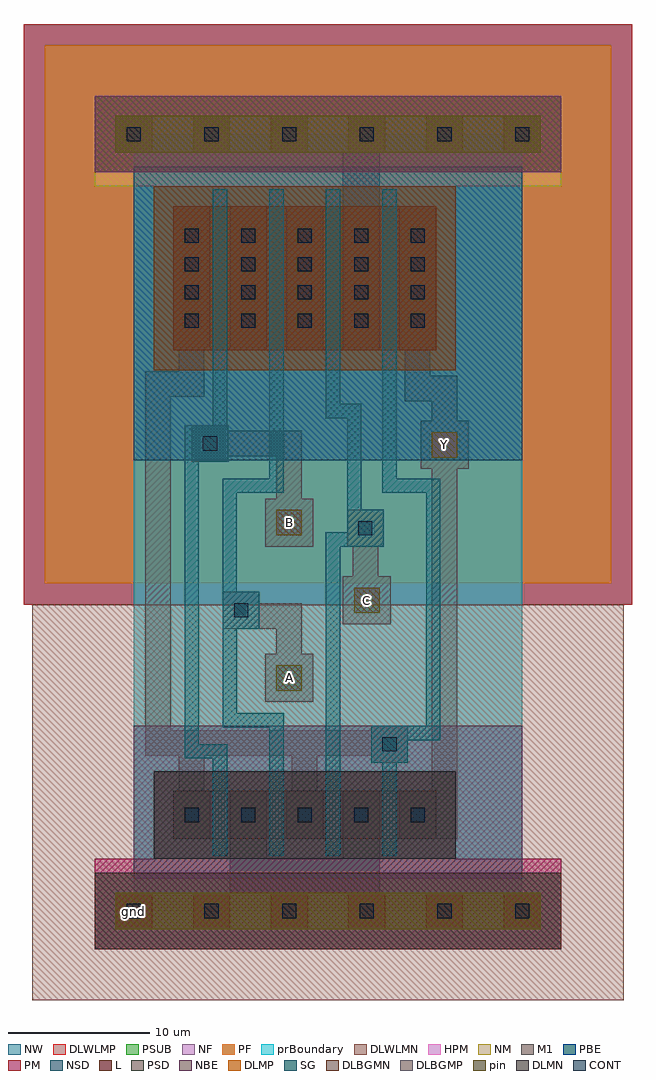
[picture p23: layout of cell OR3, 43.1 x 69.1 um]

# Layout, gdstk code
import gdstk
lib = gdstk.Library(unit=1e-6, precision=1e-09)
def R(c, l, rs):  # rectangles x0, y0, x1, y1
    for r in rs: c.add(gdstk.rectangle(r[:2], r[2:], *l))
def A(c, l, x, y, w, h, nx, ny, dx, dy):  # array of equal rectangles
    R(c, l, [(x+i*dx, y+j*dy, x+i*dx+w, y+j*dy+h) for i in range(nx) for j in range(ny)])
def P(c, l, *ps):  # polygons
    for p in ps: c.add(gdstk.Polygon(p, *l))
L = (3, 0)
NM = (7, 0)
SG = (8, 0)
PSD = (9, 0)
CONT = (11, 0)
M1 = (13, 0)
NF = (25, 0)
PF = (26, 0)
NSD = (28, 0)
HPM = (33, 0)
PM = (35, 0)
NW = (36, 0)
pin = (48, 1)
PSUB = (140, 0)
PBE = (146, 0)
NBE = (147, 0)
DLWLMP = (150, 0)
DLWLMN = (151, 0)
DLMP = (157, 0)
DLMN = (158, 0)
DLBGMP = (177, 0)
DLBGMN = (178, 0)
prBoundary = (235, 0)

or3 = lib.new_cell('OR3')
A(or3, L, -1.3, -1.3, 2.6, 2.6, 6, 2, 5.5, 55)
R(or3, L, [(2.8,5.1,21.4,8.5), (2.8,39.7,21.4,49.9)])
R(or3, NM, [(-2.75,-2.7,30.25,2.7)])
P(or3, NM, [(1.4,38.3),(1.4,51.3),(-2.75,51.3),(-2.75,57.7),(30.25,57.7),(30.25,51.3),(22.8,51.3),(22.8,38.3)])
P(or3, SG, [(5.6,3.9),(5.6,10.8),(3.6,10.8),(3.6,34.4),(5.6,34.4),(5.6,51.1),(6.6,51.1),(6.6,34.4),(6.7,34.4),(6.7,31.8),(4.6,31.8),(4.6,11.8),(6.6,11.8),(6.6,3.9)],
  [(9.6,3.9),(9.6,13),(6.3,13),(6.3,30.6),(9.6,30.6),(9.6,51.1),(10.6,51.1),(10.6,29.6),(7.3,29.6),(7.3,22.6),(8.9,22.6),(8.9,20),(7.3,20),(7.3,14),(10.6,14),(10.6,3.9)],
  [(13.6,3.9),(13.6,26.8),(15.1,26.8),(15.1,34.9),(13.6,34.9),(13.6,51.1),(14.6,51.1),(14.6,35.9),(16.1,35.9),(16.1,28.4),(17.7,28.4),(17.7,25.8),(14.6,25.8),(14.6,3.9)],
  [(17.6,3.9),(17.6,10.5),(16.8,10.5),(16.8,13.1),(20.7,13.1),(20.7,29.6),(17.6,29.6),(17.6,51.1),(18.6,51.1),(18.6,30.6),(21.7,30.6),(21.7,12.1),(19.4,12.1),(19.4,10.5),(18.6,10.5),(18.6,3.9)])
R(or3, PSD, [(1.4,3.7,22.8,9.9), (-2.75,52.3,30.25,57.7)])
A(or3, CONT, -0.5, -0.5, 1, 1, 6, 2, 5.5, 55)
A(or3, CONT, 3.6, 41.3, 1, 1, 1, 4, 0, 2)
A(or3, CONT, 19.6, 41.3, 1, 1, 1, 4, 0, 2)
R(or3, CONT, [(3.6,6.3,4.6,7.3), (7.6,6.3,8.6,7.3), (7.6,6.3,8.6,7.3), (11.6,6.3,12.6,7.3), (11.6,6.3,12.6,7.3), (15.6,6.3,16.6,7.3), (15.6,6.3,16.6,7.3), (19.6,6.3,20.6,7.3), (17.6,11.3,18.6,12.3), (7.1,20.8,8.1,21.8), (15.9,26.6,16.9,27.6), (4.9,32.6,5.9,33.6), (7.6,41.3,8.6,42.3), (7.6,41.3,8.6,42.3), (11.6,41.3,12.6,42.3), (11.6,41.3,12.6,42.3), (15.6,41.3,16.6,42.3), (15.6,41.3,16.6,42.3), (7.6,43.3,8.6,44.3), (7.6,43.3,8.6,44.3), (11.6,43.3,12.6,44.3), (11.6,43.3,12.6,44.3), (15.6,43.3,16.6,44.3), (15.6,43.3,16.6,44.3), (7.6,45.3,8.6,46.3), (7.6,45.3,8.6,46.3), (11.6,45.3,12.6,46.3), (11.6,45.3,12.6,46.3), (15.6,45.3,16.6,46.3), (15.6,45.3,16.6,46.3), (7.6,47.3,8.6,48.3), (7.6,47.3,8.6,48.3), (11.6,47.3,12.6,48.3), (11.6,47.3,12.6,48.3), (15.6,47.3,16.6,48.3), (15.6,47.3,16.6,48.3)])
R(or3, M1, [(6.8,39.7,9.4,49.9), (10.8,39.7,13.4,49.9)])
P(or3, M1, [(-1.3,-1.3),(-1.3,1.3),(6.8,1.3),(6.8,8.5),(9.4,8.5),(9.4,3.7),(14.8,3.7),(14.8,8.5),(17.4,8.5),(17.4,1.3),(28.8,1.3),(28.8,-1.3)],
  [(9.3,14.8),(9.3,18.2),(10.1,18.2),(10.1,20),(6.3,20),(6.3,22.6),(8.9,22.6),(8.9,21.8),(11.9,21.8),(11.9,18.2),(12.7,18.2),(12.7,14.8)],
  [(14.8,20.3),(14.8,23.7),(15.5,23.7),(15.5,25.8),(15.1,25.8),(15.1,28.4),(17.7,28.4),(17.7,25.8),(17.3,25.8),(17.3,23.7),(18.2,23.7),(18.2,20.3)],
  [(9.3,25.8),(9.3,29.2),(10.1,29.2),(10.1,32.2),(6.7,32.2),(6.7,31.8),(4.1,31.8),(4.1,34.4),(6.7,34.4),(6.7,34),(11.9,34),(11.9,29.2),(12.7,29.2),(12.7,25.8)],
  [(2.8,5.1),(2.8,8.5),(3.2,8.5),(3.2,11),(0.8,11),(0.8,38.2),(3.2,38.2),(3.2,39.7),(2.8,39.7),(2.8,49.9),(5.4,49.9),(5.4,39.7),(5,39.7),(5,36.4),(2.6,36.4),(2.6,12.8),(16.8,12.8),(16.8,13.1),(19.4,13.1),(19.4,10.5),(16.8,10.5),(16.8,11),(13,11),(13,8.5),(13.4,8.5),(13.4,5.1),(10.8,5.1),(10.8,8.5),(11.2,8.5),(11.2,11),(5,11),(5,8.5),(5.4,8.5),(5.4,5.1)],
  [(18.8,5.1),(18.8,8.5),(21.1,8.5),(21.1,31.3),(20.3,31.3),(20.3,34.7),(21.1,34.7),(21.1,36.1),(19.2,36.1),(19.2,39.7),(18.8,39.7),(18.8,49.9),(21.4,49.9),(21.4,39.7),(21,39.7),(21,37.9),(22.9,37.9),(22.9,34.7),(23.7,34.7),(23.7,31.3),(22.9,31.3),(22.9,5.1)],
  [(14.8,39.7),(14.8,53.7),(-1.3,53.7),(-1.3,56.3),(28.8,56.3),(28.8,53.7),(17.4,53.7),(17.4,39.7)])
R(or3, NF, [(-6.3,23.2,33.8,61.3)])
R(or3, PF, [(-6.3,23.2,33.8,61.3)])
R(or3, NSD, [(-2.75,-2.7,30.25,2.7), (1.4,38.3,22.8,51.3)])
P(or3, HPM, [(-2.75,-2.7),(-2.75,3.7),(1.4,3.7),(1.4,9.9),(22.8,9.9),(22.8,3.7),(30.25,3.7),(30.25,-2.7)],
  [(1.4,38.3),(1.4,51.3),(-2.75,51.3),(-2.75,57.7),(30.25,57.7),(30.25,51.3),(22.8,51.3),(22.8,38.3)])
R(or3, PM, [(-2.75,52.3,30.25,57.7)])
P(or3, PM, [(-2.75,-2.7),(-2.75,3.7),(1.4,3.7),(1.4,9.9),(22.8,9.9),(22.8,3.7),(30.25,3.7),(30.25,-2.7)])
R(or3, NW, [(-7.8,21.7,35.3,62.8)])
R(or3, pin, [(-1.3,-1.3,28.8,1.3), (10.1,15.6,11.9,17.4), (15.6,21.1,17.4,22.9), (10.1,26.6,11.9,28.4), (21.1,32.1,22.9,33.9), (-1.3,53.7,28.8,56.3)])
R(or3, PSUB, [(-6.3,23.2,33.8,61.3)])
R(or3, PBE, [(0,31.9,27.5,52.7)])
R(or3, NBE, [(0,2.3,27.5,13.1)])
R(or3, DLWLMP, [(-7.8,21.7,35.3,62.8)])
R(or3, DLWLMN, [(-7.2,-6.3,34.7,21.7)])
R(or3, DLMP, [(1.4,38.3,22.8,51.3)])
R(or3, DLMN, [(1.4,3.7,22.8,9.9)])
R(or3, DLBGMP, [(-2.75,52.3,30.25,57.7)])
R(or3, DLBGMN, [(-2.75,-2.7,30.25,2.7)])
R(or3, prBoundary, [(0,0,27.5,55)])
or3.add(gdstk.Label('Y', (22,33), layer=48, texttype=0))
or3.add(gdstk.Label('A', (11,16.5), layer=48, texttype=0))
or3.add(gdstk.Label('B', (11,27.5), layer=48, texttype=0))
or3.add(gdstk.Label('C', (16.5,22), layer=48, texttype=0))
or3.add(gdstk.Label('gnd', (0,0), layer=48, texttype=0))

lib.write_gds('OR3.gds')
